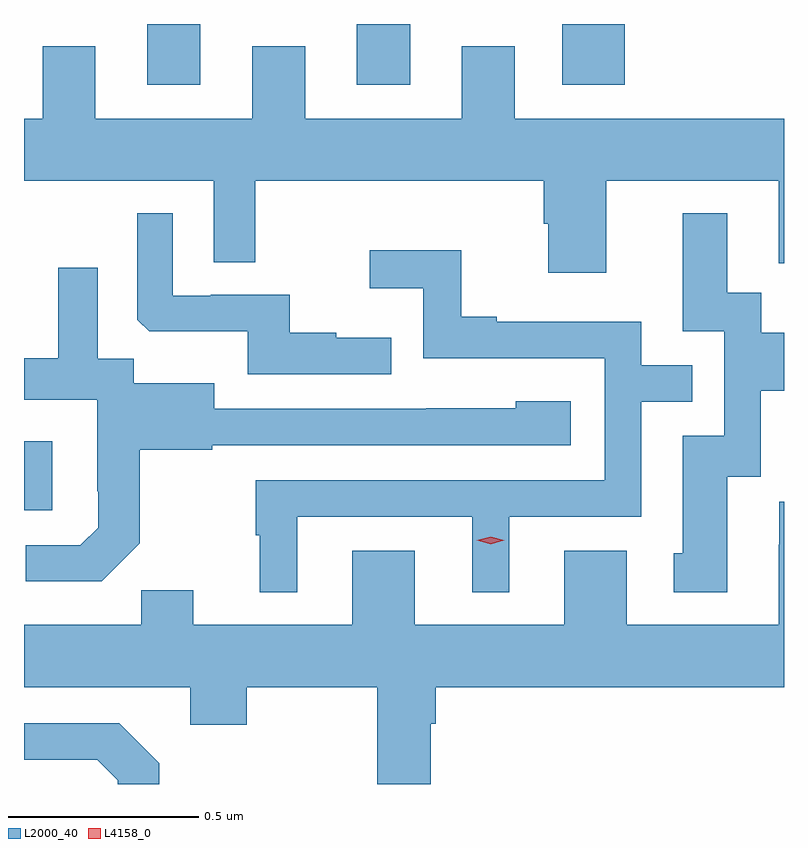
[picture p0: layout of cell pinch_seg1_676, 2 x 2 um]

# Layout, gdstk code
import gdstk
lib = gdstk.Library(unit=1e-6, precision=1e-09)
def R(c, l, rs):  # rectangles x0, y0, x1, y1
    for r in rs: c.add(gdstk.rectangle(r[:2], r[2:], *l))
def P(c, l, *ps):  # polygons
    for p in ps: c.add(gdstk.Polygon(p, *l))
L2000_40 = (2000, 40)
L4158_0 = (4158, 0)

pinch_seg1_676 = lib.new_cell('pinch_seg1_676')
R(pinch_seg1_676, L2000_40, [(863.867,576.174,863.941,576.355), (864.191,577.293,864.331,577.453), (864.743,577.293,864.883,577.453), (865.283,577.293,865.448,577.453)])
P(pinch_seg1_676, L2000_40, [(865.399,577.04),(865.853,577.04),(865.853,576.824),(865.867,576.824),(865.867,577.204),(865.159,577.204),(865.159,577.394),(865.019,577.394),(865.019,577.204),(864.607,577.204),(864.607,577.394),(864.467,577.394),(864.467,577.204),(864.055,577.204),(864.055,577.394),(863.916,577.394),(863.916,577.204),(863.867,577.204),(863.867,577.04),(864.366,577.04),(864.366,576.826),(864.475,576.826),(864.475,577.04),(865.235,577.04),(865.235,576.927),(865.247,576.927),(865.247,576.798),(865.399,576.798)],
  [(865.717,576.261),(865.806,576.261),(865.806,576.488),(865.867,576.488),(865.867,576.64),(865.807,576.64),(865.807,576.746),(865.717,576.746),(865.717,576.955),(865.601,576.955),(865.601,576.645),(865.71,576.645),(865.71,576.369),(865.601,576.369),(865.601,576.06),(865.577,576.06),(865.577,575.958),(865.717,575.958)],
  [(864.833,576.628),(864.689,576.628),(864.689,576.64),(864.566,576.64),(864.566,576.741),(864.358,576.741),(864.358,576.738),(864.258,576.738),(864.258,576.955),(864.165,576.955),(864.165,576.675),(864.197,576.644),(864.456,576.644),(864.456,576.531),(864.833,576.531)],
  [(864.586,576.156),(865.046,576.156),(865.046,575.957),(865.144,575.957),(865.144,576.156),(865.491,576.156),(865.491,576.459),(865.625,576.459),(865.625,576.555),(865.491,576.555),(865.491,576.669),(865.111,576.669),(865.111,576.682),(865.017,576.682),(865.017,576.857),(864.777,576.857),(864.777,576.758),(864.918,576.758),(864.918,576.573),(865.395,576.573),(865.395,576.252),(864.477,576.252),(864.477,576.108),(864.488,576.108),(864.488,575.957),(864.586,575.957)],
  [(864.171,576.087),(864.171,576.333),(864.363,576.333),(864.363,576.345),(865.306,576.345),(865.306,576.46),(865.161,576.46),(865.161,576.442),(864.925,576.442),(864.925,576.441),(864.367,576.441),(864.367,576.508),(864.156,576.508),(864.156,576.572),(864.061,576.572),(864.061,576.811),(863.957,576.811),(863.957,576.574),(863.867,576.574),(863.867,576.464),(864.06,576.464),(864.06,576.223),(864.062,576.223),(864.062,576.128),(864.015,576.081),(863.871,576.081),(863.871,575.987),(864.071,575.987)],
  [(864.937,575.612),(864.95,575.612),(864.95,575.708),(865.867,575.708),(865.867,576.196),(865.854,576.196),(865.854,576.083),(865.853,576.083),(865.853,575.872),(865.453,575.872),(865.453,576.067),(865.289,576.067),(865.289,575.872),(864.895,575.872),(864.895,576.067),(864.731,576.067),(864.731,575.872),(864.313,575.872),(864.313,575.963),(864.175,575.963),(864.175,575.872),(863.867,575.872),(863.867,575.708),(864.305,575.708),(864.305,575.609),(864.453,575.609),(864.453,575.708),(864.797,575.708),(864.797,575.453),(864.937,575.453)],
  [(864.223,575.507),(864.117,575.613),(863.867,575.613),(863.867,575.517),(864.06,575.517),(864.114,575.463),(864.114,575.453),(864.223,575.453)])
P(pinch_seg1_676, L4158_0, [(865.095,576.084),(865.059,576.094),(865.059,576.094),(865.059,576.094),(865.095,576.104),(865.131,576.094),(865.131,576.094),(865.131,576.094)])

lib.write_gds('pinch_seg1_676.gds')
